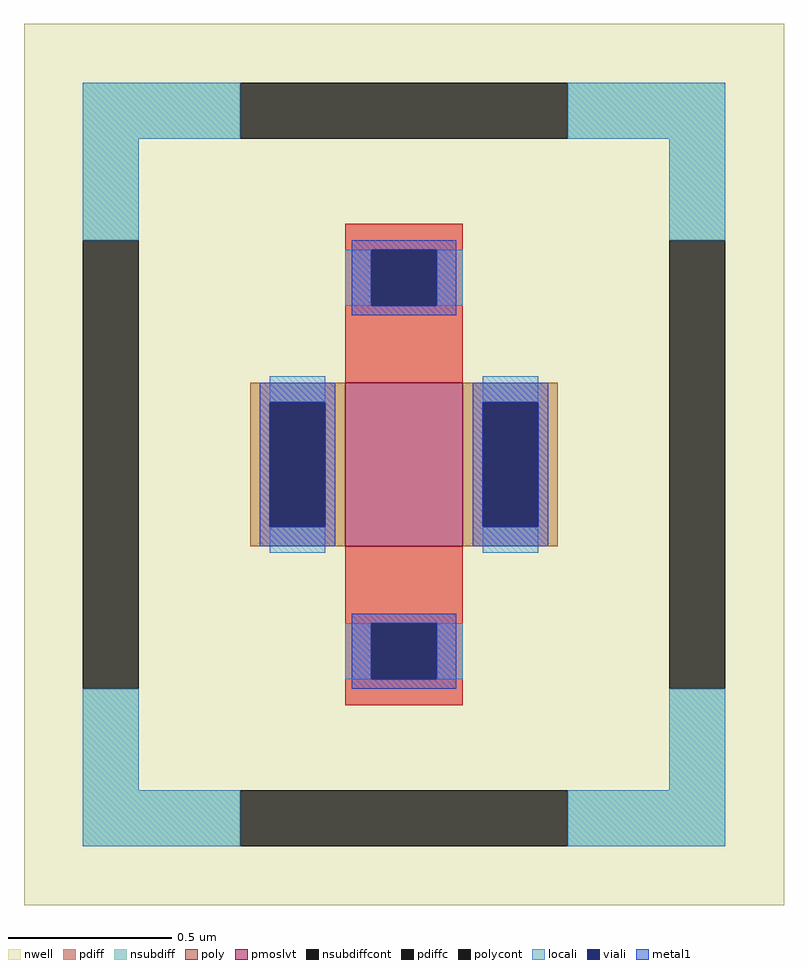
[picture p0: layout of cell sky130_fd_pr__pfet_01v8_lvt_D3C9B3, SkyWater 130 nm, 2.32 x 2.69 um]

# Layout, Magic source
magic
tech sky130A
magscale 1 2
<< nwell >>
rect -232 -269 232 269
<< pmoslvt >>
rect -36 -50 36 50
<< pdiff >>
rect -94 38 -36 50
rect -94 -38 -82 38
rect -48 -38 -36 38
rect -94 -50 -36 -38
rect 36 38 94 50
rect 36 -38 48 38
rect 82 -38 94 38
rect 36 -50 94 -38
<< pdiffc >>
rect -82 -38 -48 38
rect 48 -38 82 38
<< nsubdiff >>
rect -196 199 -100 233
rect 100 199 196 233
rect -196 137 -162 199
rect 162 137 196 199
rect -196 -199 -162 -137
rect 162 -199 196 -137
rect -196 -233 -100 -199
rect 100 -233 196 -199
<< nsubdiffcont >>
rect -100 199 100 233
rect -196 -137 -162 137
rect 162 -137 196 137
rect -100 -233 100 -199
<< poly >>
rect -36 131 36 147
rect -36 97 -20 131
rect 20 97 36 131
rect -36 50 36 97
rect -36 -97 36 -50
rect -36 -131 -20 -97
rect 20 -131 36 -97
rect -36 -147 36 -131
<< polycont >>
rect -20 97 20 131
rect -20 -131 20 -97
<< locali >>
rect -196 199 -100 233
rect 100 199 196 233
rect -196 137 -162 199
rect 162 137 196 199
rect -36 97 -20 131
rect 20 97 36 131
rect -82 38 -48 54
rect -82 -54 -48 -38
rect 48 38 82 54
rect 48 -54 82 -38
rect -36 -131 -20 -97
rect 20 -131 36 -97
rect -196 -199 -162 -137
rect 162 -199 196 -137
rect -196 -233 -100 -199
rect 100 -233 196 -199
<< viali >>
rect -20 97 20 131
rect -82 -38 -48 38
rect 48 -38 82 38
rect -20 -131 20 -97
<< metal1 >>
rect -32 131 32 137
rect -32 97 -20 131
rect 20 97 32 131
rect -32 91 32 97
rect -88 38 -42 50
rect -88 -38 -82 38
rect -48 -38 -42 38
rect -88 -50 -42 -38
rect 42 38 88 50
rect 42 -38 48 38
rect 82 -38 88 38
rect 42 -50 88 -38
rect -32 -97 32 -91
rect -32 -131 -20 -97
rect 20 -131 32 -97
rect -32 -137 32 -131
<< properties >>
string FIXED_BBOX -179 -216 179 216
string gencell sky130_fd_pr__pfet_01v8_lvt
string library sky130
string parameters w 0.5 l 0.355 m 1 nf 1 diffcov 100 polycov 100 guard 1 glc 1 grc 1 gtc 1 gbc 1 tbcov 100 rlcov 100 topc 1 botc 1 poverlap 0 doverlap 1 lmin 0.35 wmin 0.42 compatible {sky130_fd_pr__pfet_01v8  sky130_fd_pr__pfet_01v8_lvt sky130_fd_pr__pfet_01v8_hvt  sky130_fd_pr__pfet_g5v0d10v5} full_metal 1 viasrc 100 viadrn 100 viagate 100 viagb 0 viagr 0 viagl 0 viagt 0
<< end >>
